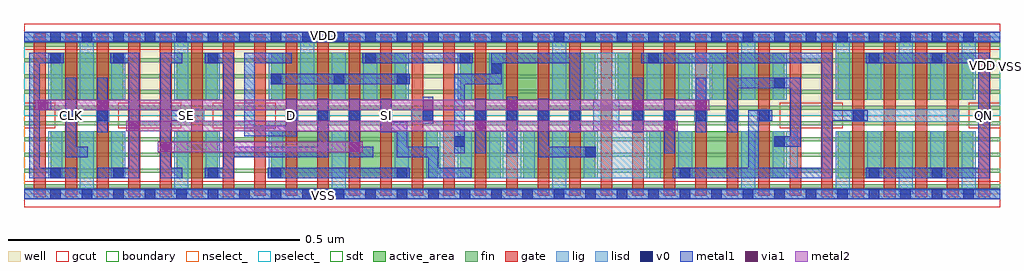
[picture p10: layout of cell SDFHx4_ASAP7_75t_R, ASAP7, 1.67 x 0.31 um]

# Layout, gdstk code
import gdstk
lib = gdstk.Library(unit=1e-6, precision=1e-09)
def R(c, l, rs):  # rectangles x0, y0, x1, y1
    for r in rs: c.add(gdstk.rectangle(r[:2], r[2:], *l))
def A(c, l, x, y, w, h, nx, ny, dx, dy):  # array of equal rectangles
    R(c, l, [(x+i*dx, y+j*dy, x+i*dx+w, y+j*dy+h) for i in range(nx) for j in range(ny)])
def P(c, l, *ps):  # polygons
    for p in ps: c.add(gdstk.Polygon(p, *l))
well = (1, 0)
fin = (2, 0)
gate = (7, 0)
gcut = (10, 0)
active_area = (11, 0)
nselect_ = (12, 0)
pselect_ = (13, 0)
lig = (16, 0)
lisd = (17, 0)
v0 = (18, 0)
metal1 = (19, 0)
metal2 = (20, 0)
via1 = (21, 0)
sdt = (88, 0)
boundary = (100, 0)

sdfhx4_asap7_75t_r = lib.new_cell('SDFHx4_ASAP7_75t_R')
R(sdfhx4_asap7_75t_r, well, [(0,0.135,1.674,0.27)])
A(sdfhx4_asap7_75t_r, fin, 0, 0.01, 1.674, 0.007, 1, 10, 0, 0.027)
A(sdfhx4_asap7_75t_r, gate, 0.017, -0.005, 0.02, 0.281, 7, 1, 0.054, 0)
A(sdfhx4_asap7_75t_r, gate, 1.367, -0.005, 0.02, 0.281, 6, 1, 0.054, 0)
A(sdfhx4_asap7_75t_r, gate, 0.395, -0.003, 0.02, 0.277, 18, 1, 0.054, 0)
R(sdfhx4_asap7_75t_r, gate, [(0.341,-0.003,0.361,0.274), (0.395,-0.003,0.415,0.274), (1.313,-0.003,1.333,0.274), (1.367,-0.003,1.387,0.274), (1.637,-0.003,1.657,0.274)])
R(sdfhx4_asap7_75t_r, gcut, [(0,-0.022,1.674,0.022), (0,0.113,0.054,0.157), (0.162,0.113,0.27,0.157), (0.324,0.113,0.432,0.157), (1.296,0.113,1.404,0.157), (1.62,0.113,1.674,0.157), (0,0.248,1.674,0.292)])
R(sdfhx4_asap7_75t_r, active_area, [(0.046,0.027,0.17,0.108), (0.262,0.027,0.332,0.108), (0.424,0.027,0.71,0.108), (0.748,0.027,0.818,0.108), (0.856,0.027,0.98,0.108), (1.072,0.027,1.304,0.108), (1.396,0.027,1.628,0.108), (0.046,0.162,0.17,0.243), (0.262,0.162,0.332,0.243), (0.424,0.162,0.656,0.243), (0.748,0.162,0.98,0.243), (1.018,0.162,1.142,0.243), (1.18,0.162,1.304,0.243), (1.396,0.162,1.628,0.243)])
R(sdfhx4_asap7_75t_r, nselect_, [(0,0,1.674,0.135)])
R(sdfhx4_asap7_75t_r, pselect_, [(0,0.135,1.674,0.27)])
A(sdfhx4_asap7_75t_r, lig, 0.448, 0.124, 0.022, 0.022, 4, 1, 0.054, 0)
A(sdfhx4_asap7_75t_r, lig, 0.772, 0.124, 0.022, 0.022, 4, 1, 0.054, 0)
A(sdfhx4_asap7_75t_r, lig, 1.042, 0.124, 0.022, 0.022, 5, 1, 0.054, 0)
R(sdfhx4_asap7_75t_r, lig, [(0,-0.008,1.674,0.008), (0.07,0.124,0.092,0.146), (0.124,0.124,0.146,0.146), (0.27,0.124,0.309,0.146), (0.664,0.124,0.702,0.146), (1.42,0.124,1.604,0.146), (0,0.262,1.674,0.278)])
A(sdfhx4_asap7_75t_r, lisd, 1.392, 0, 0.024, 0.108, 3, 2, 0.108, 0.162)
A(sdfhx4_asap7_75t_r, lisd, 0.312, 0.162, 0.024, 0.081, 3, 1, 0.108, 0)
R(sdfhx4_asap7_75t_r, lisd, [(0.096,0,0.12,0.108), (0.258,0,0.282,0.108), (0.528,0,0.552,0.108), (0.906,0,0.93,0.108), (1.23,0,1.254,0.108), (0.042,0.027,0.066,0.108), (0.15,0.027,0.174,0.108), (0.312,0.027,0.336,0.108), (0.42,0.027,0.444,0.108), (0.636,0.027,0.66,0.108), (0.69,0.027,0.768,0.108), (0.798,0.027,0.876,0.108), (1.122,0.027,1.146,0.108), (1.284,0.027,1.327,0.108), (1.446,0.027,1.47,0.108), (1.554,0.027,1.578,0.108), (0.042,0.162,0.066,0.243), (0.096,0.162,0.12,0.27), (0.15,0.162,0.174,0.243), (0.258,0.162,0.282,0.27), (0.474,0.162,0.498,0.27), (0.582,0.162,0.606,0.243), (0.636,0.162,0.66,0.243), (0.744,0.162,0.768,0.243), (0.798,0.162,0.822,0.243), (0.906,0.162,0.93,0.27), (1.068,0.162,1.092,0.243), (1.122,0.162,1.2,0.243), (1.23,0.162,1.254,0.27), (1.284,0.162,1.308,0.243), (1.446,0.162,1.47,0.243), (1.554,0.162,1.578,0.243)])
P(sdfhx4_asap7_75t_r, lisd, [(0.96,0.027),(0.96,0.108),(0.976,0.108),(0.976,0.162),(0.96,0.162),(0.96,0.243),(1.038,0.243),(1.038,0.162),(1.021,0.162),(1.021,0.108),(1.092,0.108),(1.092,0.027)])
A(sdfhx4_asap7_75t_r, v0, 0.045, -0.009, 0.018, 0.018, 23, 1, 0.054, 0)
A(sdfhx4_asap7_75t_r, v0, 1.233, -0.009, 0.018, 0.018, 8, 1, 0.054, 0)
A(sdfhx4_asap7_75t_r, v0, 0.45, 0.126, 0.018, 0.018, 4, 1, 0.054, 0)
A(sdfhx4_asap7_75t_r, v0, 0.774, 0.126, 0.018, 0.018, 4, 1, 0.054, 0)
A(sdfhx4_asap7_75t_r, v0, 1.044, 0.126, 0.018, 0.018, 5, 1, 0.054, 0)
A(sdfhx4_asap7_75t_r, v0, 0.423, 0.189, 0.018, 0.018, 3, 1, 0.108, 0)
A(sdfhx4_asap7_75t_r, v0, 0.045, 0.261, 0.018, 0.018, 30, 1, 0.054, 0)
R(sdfhx4_asap7_75t_r, v0, [(0.045,0.027,0.063,0.045), (0.153,0.027,0.171,0.045), (0.315,0.027,0.333,0.045), (0.423,0.027,0.441,0.045), (0.639,0.027,0.657,0.045), (1.125,0.027,1.143,0.045), (1.449,0.027,1.467,0.045), (1.557,0.027,1.575,0.045), (0.963,0.063,0.981,0.081), (0.738,0.081,0.756,0.099), (1.287,0.081,1.305,0.099), (0.072,0.126,0.09,0.144), (0.126,0.126,0.144,0.144), (0.271,0.126,0.289,0.144), (0.684,0.126,0.702,0.144), (1.422,0.126,1.44,0.144), (1.287,0.182,1.305,0.2), (0.801,0.207,0.819,0.225), (0.045,0.225,0.063,0.243), (0.153,0.225,0.171,0.243), (0.315,0.225,0.333,0.243), (0.585,0.225,0.603,0.243), (0.747,0.225,0.765,0.243), (1.071,0.225,1.089,0.243), (1.449,0.225,1.467,0.243), (1.557,0.225,1.575,0.243)])
R(sdfhx4_asap7_75t_r, metal1, [(0,-0.009,1.674,0.009), (0.418,0.027,0.662,0.045), (0.774,0.07,0.792,0.164), (0.828,0.07,0.846,0.167), (1.098,0.07,1.116,0.164), (0.126,0.106,0.144,0.2), (1.044,0.106,1.062,0.2), (1.152,0.106,1.17,0.2), (0.684,0.121,0.702,0.167), (0.423,0.189,0.662,0.207), (0.58,0.225,0.77,0.243), (0,0.261,1.674,0.279)])
P(sdfhx4_asap7_75t_r, metal1, [(1.444,0.027),(1.444,0.045),(1.637,0.045),(1.637,0.225),(1.444,0.225),(1.444,0.243),(1.656,0.243),(1.656,0.027)],
  [(1.113,0.027),(1.113,0.045),(1.242,0.045),(1.242,0.144),(1.283,0.144),(1.283,0.126),(1.26,0.126),(1.26,0.045),(1.368,0.045),(1.368,0.225),(1.059,0.225),(1.059,0.243),(1.386,0.243),(1.386,0.144),(1.447,0.144),(1.447,0.126),(1.386,0.126),(1.386,0.027)],
  [(1.287,0.081),(1.287,0.099),(1.314,0.099),(1.314,0.182),(1.224,0.182),(1.224,0.106),(1.206,0.106),(1.206,0.2),(1.332,0.2),(1.332,0.081)],
  [(0.882,0.063),(0.882,0.164),(0.9,0.164),(0.9,0.081),(0.981,0.081),(0.981,0.063)],
  [(0.738,0.07),(0.738,0.207),(0.801,0.207),(0.801,0.243),(0.954,0.243),(0.954,0.106),(0.936,0.106),(0.936,0.225),(0.819,0.225),(0.819,0.189),(0.756,0.189),(0.756,0.07)],
  [(0.693,0.027),(0.693,0.063),(0.639,0.063),(0.639,0.106),(0.612,0.106),(0.612,0.164),(0.63,0.164),(0.63,0.124),(0.657,0.124),(0.657,0.081),(0.711,0.081),(0.711,0.045),(0.767,0.045),(0.767,0.027)],
  [(0.558,0.063),(0.558,0.164),(0.576,0.164),(0.576,0.081),(0.599,0.081),(0.599,0.063)],
  [(0.31,0.027),(0.31,0.045),(0.342,0.045),(0.342,0.225),(0.31,0.225),(0.31,0.243),(0.36,0.243),(0.36,0.081),(0.504,0.081),(0.504,0.164),(0.522,0.164),(0.522,0.063),(0.36,0.063),(0.36,0.027)],
  [(0.378,0.099),(0.378,0.243),(0.459,0.243),(0.459,0.225),(0.396,0.225),(0.396,0.117),(0.45,0.117),(0.45,0.164),(0.468,0.164),(0.468,0.099)],
  [(0.234,0.027),(0.234,0.243),(0.271,0.243),(0.271,0.225),(0.252,0.225),(0.252,0.144),(0.289,0.144),(0.289,0.126),(0.252,0.126),(0.252,0.045),(0.271,0.045),(0.271,0.027)],
  [(0.009,0.027),(0.009,0.243),(0.068,0.243),(0.068,0.225),(0.027,0.225),(0.027,0.162),(0.047,0.162),(0.047,0.144),(0.027,0.144),(0.027,0.045),(0.09,0.045),(0.09,0.027)],
  [(0.072,0.063),(0.072,0.2),(0.09,0.2),(0.09,0.081),(0.109,0.081),(0.109,0.063)],
  [(0.126,0.027),(0.126,0.045),(0.18,0.045),(0.18,0.225),(0.148,0.225),(0.148,0.243),(0.198,0.243),(0.198,0.027)])
R(sdfhx4_asap7_75t_r, metal2, [(0.229,0.072,0.581,0.09), (0.175,0.108,1.121,0.126), (0.019,0.144,1.175,0.162)])
R(sdfhx4_asap7_75t_r, via1, [(0.234,0.072,0.252,0.09), (0.558,0.072,0.576,0.09), (0.18,0.108,0.198,0.126), (0.774,0.108,0.792,0.126), (1.098,0.108,1.116,0.126), (0.024,0.144,0.042,0.162), (0.126,0.144,0.144,0.162), (0.684,0.144,0.702,0.162), (0.828,0.144,0.846,0.162), (1.044,0.144,1.062,0.162), (1.152,0.144,1.17,0.162)])
A(sdfhx4_asap7_75t_r, sdt, 0.042, 0.027, 0.024, 0.081, 3, 2, 0.054, 0.135)
A(sdfhx4_asap7_75t_r, sdt, 0.312, 0.027, 0.024, 0.081, 4, 1, 0.108, 0)
A(sdfhx4_asap7_75t_r, sdt, 0.69, 0.027, 0.024, 0.081, 6, 1, 0.054, 0)
A(sdfhx4_asap7_75t_r, sdt, 1.392, 0.027, 0.024, 0.081, 5, 2, 0.054, 0.135)
A(sdfhx4_asap7_75t_r, sdt, 0.42, 0.162, 0.024, 0.081, 5, 1, 0.054, 0)
A(sdfhx4_asap7_75t_r, sdt, 0.906, 0.162, 0.024, 0.081, 8, 1, 0.054, 0)
R(sdfhx4_asap7_75t_r, sdt, [(0.258,0.027,0.282,0.108), (1.068,0.027,1.092,0.108), (1.122,0.027,1.146,0.108), (1.23,0.027,1.254,0.108), (1.284,0.027,1.308,0.108), (0.258,0.162,0.282,0.243), (0.312,0.162,0.336,0.243), (0.744,0.162,0.768,0.243), (0.798,0.162,0.822,0.243)])
R(sdfhx4_asap7_75t_r, boundary, [(0,0,1.674,0.27)])
sdfhx4_asap7_75t_r.add(gdstk.Label('VSS', (0.513,-0.003), layer=19, texttype=251))
sdfhx4_asap7_75t_r.add(gdstk.Label('QN', (1.646,0.135), layer=19, texttype=251))
sdfhx4_asap7_75t_r.add(gdstk.Label('SE', (0.278,0.135), layer=19, texttype=251))
sdfhx4_asap7_75t_r.add(gdstk.Label('CLK', (0.081,0.135), layer=19, texttype=251))
sdfhx4_asap7_75t_r.add(gdstk.Label('D', (0.459,0.135), layer=19, texttype=251))
sdfhx4_asap7_75t_r.add(gdstk.Label('SI', (0.621,0.135), layer=19, texttype=251))
sdfhx4_asap7_75t_r.add(gdstk.Label('VDD', (0.513,0.273), layer=19, texttype=251))
sdfhx4_asap7_75t_r.add(gdstk.Label('VDD', (1.644,0.22), layer=1, texttype=251))
sdfhx4_asap7_75t_r.add(gdstk.Label('VSS', (1.713,0.219), layer=3, texttype=251))

lib.write_gds('SDFHx4_ASAP7_75t_R.gds')
